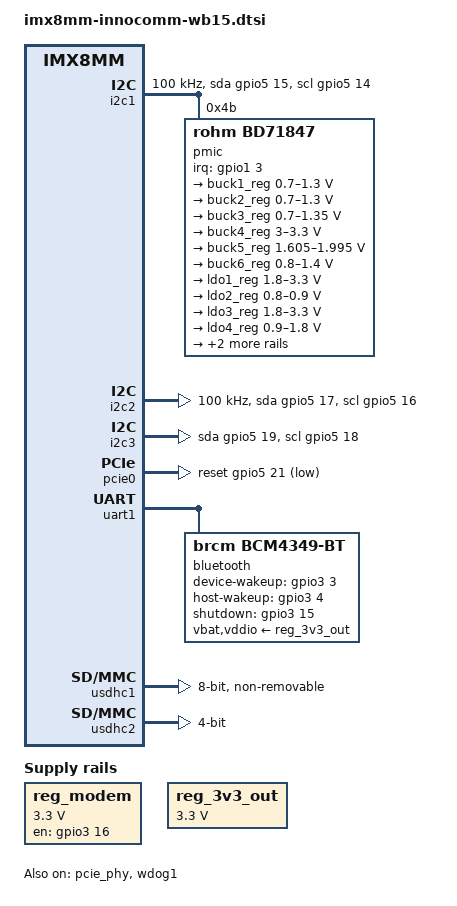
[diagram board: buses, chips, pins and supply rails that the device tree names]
// SPDX-License-Identifier: (GPL-2.0+ OR MIT)
/*
 * Copyright 2018 Bang & Olufsen
 */

#include "imx8mm.dtsi"
#include <dt-bindings/phy/phy-imx8-pcie.h>

/ {
	reg_modem: regulator-modem {
		compatible = "regulator-fixed";
		pinctrl-names = "default";
		pinctrl-0 = <&pinctrl_modem_regulator>;
		regulator-min-microvolt = <3300000>;
		regulator-max-microvolt = <3300000>;
		regulator-name = "epdev_on";
		gpio = <&gpio3 16 GPIO_ACTIVE_HIGH>;
		enable-active-high;
		regulator-always-on;
	};

	reg_3v3_out: regulator-3v3-out {
		compatible = "regulator-fixed";
		regulator-name = "3V3_OUT";
		regulator-min-microvolt = <3300000>;
		regulator-max-microvolt = <3300000>;
	};
};

&cpu_alert0 {
	temperature = <95000>;
};

&cpu_crit0 {
	temperature = <105000>;
};

&ddrc {
	operating-points-v2 = <&ddrc_opp_table>;

	ddrc_opp_table: opp-table {
		compatible = "operating-points-v2";

		opp-25000000 {
			opp-hz = /bits/ 64 <25000000>;
		};

		opp-100000000 {
			opp-hz = /bits/ 64 <100000000>;
		};

		opp-600000000 {
			opp-hz = /bits/ 64 <600000000>;
		};
	};
};

&i2c1 {
	clock-frequency = <100000>;
	pinctrl-names = "default", "gpio";
	pinctrl-0 = <&pinctrl_i2c1>;
	pinctrl-1 = <&pinctrl_i2c1_gpio>;
	scl-gpios = <&gpio5 14 (GPIO_ACTIVE_HIGH | GPIO_OPEN_DRAIN)>;
	sda-gpios = <&gpio5 15 (GPIO_ACTIVE_HIGH | GPIO_OPEN_DRAIN)>;
	status = "okay";

	pmic@4b {
		compatible = "rohm,bd71847";
		reg = <0x4b>;
		pinctrl-0 = <&pinctrl_pmic>;
		interrupt-parent = <&gpio1>;
		interrupts = <3 IRQ_TYPE_LEVEL_LOW>;
		rohm,reset-snvs-powered;

		regulators {
			buck1_reg: BUCK1 {
				regulator-name = "buck1";
				regulator-min-microvolt = <700000>;
				regulator-max-microvolt = <1300000>;
				regulator-boot-on;
				regulator-always-on;
				regulator-ramp-delay = <1250>;
				rohm,dvs-run-voltage = <850000>;
				rohm,dvs-idle-voltage = <850000>;
				rohm,dvs-suspend-voltage = <850000>;
			};

			buck2_reg: BUCK2 {
				regulator-name = "buck2";
				regulator-min-microvolt = <700000>;
				regulator-max-microvolt = <1300000>;
				regulator-boot-on;
				regulator-always-on;
				regulator-ramp-delay = <1250>;
				rohm,dvs-run-voltage = <1000000>;
				rohm,dvs-idle-voltage = <900000>;
			};

			buck3_reg: BUCK3 {
				// buck5 in datasheet
				regulator-name = "buck3";
				regulator-min-microvolt = <700000>;
				regulator-max-microvolt = <1350000>;
				regulator-boot-on;
				regulator-always-on;
			};

			buck4_reg: BUCK4 {
				// buck6 in datasheet
				regulator-name = "buck4";
				regulator-min-microvolt = <3000000>;
				regulator-max-microvolt = <3300000>;
				regulator-boot-on;
				regulator-always-on;
			};

			buck5_reg: BUCK5 {
				// buck7 in datasheet
				regulator-name = "buck5";
				regulator-min-microvolt = <1605000>;
				regulator-max-microvolt = <1995000>;
				regulator-boot-on;
				regulator-always-on;
			};

			buck6_reg: BUCK6 {
				// buck8 in datasheet
				regulator-name = "buck6";
				regulator-min-microvolt = <800000>;
				regulator-max-microvolt = <1400000>;
				regulator-boot-on;
				regulator-always-on;
			};

			ldo1_reg: LDO1 {
				regulator-name = "ldo1";
				regulator-min-microvolt = <1800000>;
				regulator-max-microvolt = <3300000>;
				regulator-boot-on;
				regulator-always-on;
			};

			ldo2_reg: LDO2 {
				regulator-name = "ldo2";
				regulator-min-microvolt = <800000>;
				regulator-max-microvolt = <900000>;
				regulator-boot-on;
				regulator-always-on;
			};

			ldo3_reg: LDO3 {
				regulator-name = "ldo3";
				regulator-min-microvolt = <1800000>;
				regulator-max-microvolt = <3300000>;
				regulator-boot-on;
				regulator-always-on;
			};

			ldo4_reg: LDO4 {
				regulator-name = "ldo4";
				regulator-min-microvolt = <900000>;
				regulator-max-microvolt = <1800000>;
				regulator-boot-on;
				regulator-always-on;
			};

			ldo5_reg: LDO5 {
				regulator-name = "ldo5";
				regulator-min-microvolt = <1800000>;
				regulator-max-microvolt = <3300000>;
			};

			ldo6_reg: LDO6 {
				regulator-name = "ldo6";
				regulator-min-microvolt = <900000>;
				regulator-max-microvolt = <1800000>;
				regulator-boot-on;
				regulator-always-on;
			};
		};
	};
};

&i2c2 {
	clock-frequency = <100000>;
	pinctrl-names = "default", "gpio";
	pinctrl-0 = <&pinctrl_i2c2>;
	pinctrl-1 = <&pinctrl_i2c2_gpio>;
	scl-gpios = <&gpio5 16 (GPIO_ACTIVE_HIGH | GPIO_OPEN_DRAIN)>;
	sda-gpios = <&gpio5 17 (GPIO_ACTIVE_HIGH | GPIO_OPEN_DRAIN)>;
	status = "okay";
};

&i2c3 {
	pinctrl-names = "default", "gpio";
	pinctrl-0 = <&pinctrl_i2c3>;
	pinctrl-1 = <&pinctrl_i2c3_gpio>;
	scl-gpios = <&gpio5 18 (GPIO_ACTIVE_HIGH | GPIO_OPEN_DRAIN)>;
	sda-gpios = <&gpio5 19 (GPIO_ACTIVE_HIGH | GPIO_OPEN_DRAIN)>;
};

&pcie_phy {
	fsl,refclk-pad-mode = <IMX8_PCIE_REFCLK_PAD_OUTPUT>;
	fsl,tx-deemph-gen1 = <0x2d>;
	fsl,tx-deemph-gen2 = <0xf>;
	status = "okay";
};

&pcie0 {
	pinctrl-names = "default";
	pinctrl-0 = <&pinctrl_pcie0>;
	reset-gpio = <&gpio5 21 GPIO_ACTIVE_LOW>;
	clocks = <&clk IMX8MM_CLK_PCIE1_ROOT>, <&clk IMX8MM_CLK_PCIE1_PHY>,
		 <&clk IMX8MM_CLK_PCIE1_AUX>;
	clock-names = "pcie", "pcie_bus", "pcie_aux";
	fsl,max-link-speed = <1>;
	assigned-clocks = <&clk IMX8MM_CLK_PCIE1_AUX>, <&clk IMX8MM_CLK_PCIE1_CTRL>;
	assigned-clock-rates = <10000000>, <250000000>;
	assigned-clock-parents = <&clk IMX8MM_SYS_PLL2_50M>, <&clk IMX8MM_SYS_PLL2_250M>;
	status = "okay";
};

&uart1 { /* BT */
	pinctrl-names = "default";
	pinctrl-0 = <&pinctrl_uart1>;
	assigned-clocks = <&clk IMX8MM_CLK_UART1>;
	assigned-clock-parents = <&clk IMX8MM_SYS_PLL1_80M>;
	uart-has-rtscts;
	status = "okay";

	bluetooth {
		compatible = "brcm,bcm4349-bt";
		pinctrl-names = "default";
		pinctrl-0 = <&pinctrl_modem_bt>;
		device-wakeup-gpios = <&gpio3 3 GPIO_ACTIVE_HIGH>;
		host-wakeup-gpios = <&gpio3 4 GPIO_ACTIVE_HIGH>;
		shutdown-gpios = <&gpio3 15 GPIO_ACTIVE_HIGH>;
		vbat-supply = <&reg_3v3_out>;
		vddio-supply = <&reg_3v3_out>;
		clocks = <&osc_32k>;
		max-speed = <3000000>;
		clock-names = "extclk";
	};
};

&uart2 { /* console */
	pinctrl-names = "default";
	pinctrl-0 = <&pinctrl_uart2>;
};

&usdhc1 {
	pinctrl-names = "default";
	pinctrl-0 = <&pinctrl_usdhc1>;
	bus-width = <8>;
	no-sd;
	no-sdio;
	non-removable;
	status = "okay";
};

&usdhc2 {
	pinctrl-names = "default", "state_100mhz", "state_200mhz";
	pinctrl-0 = <&pinctrl_usdhc2>, <&pinctrl_usdhc2_gpio>;
	pinctrl-1 = <&pinctrl_usdhc2_100mhz>, <&pinctrl_usdhc2_gpio>;
	pinctrl-2 = <&pinctrl_usdhc2_200mhz>, <&pinctrl_usdhc2_gpio>;
	bus-width = <4>;
};

&wdog1 {
	pinctrl-names = "default";
	pinctrl-0 = <&pinctrl_wdog>;
	fsl,ext-reset-output;
	status = "okay";
};

&A53_0 {
	cpu-supply = <&buck2_reg>;
};

&A53_1 {
	cpu-supply = <&buck2_reg>;
};

&A53_2 {
	cpu-supply = <&buck2_reg>;
};

&A53_3 {
	cpu-supply = <&buck2_reg>;
};

/delete-node/ &sec_jr1; /* Job ring in use by OP-TEE */

&iomuxc {
	pinctrl_i2c1: i2c1-grp {
		fsl,pins = <
			MX8MM_IOMUXC_I2C1_SCL_I2C1_SCL	0x400001c3
			MX8MM_IOMUXC_I2C1_SDA_I2C1_SDA	0x400001c3
		>;
	};

	pinctrl_i2c1_gpio: i2c1-gpio-grp {
		fsl,pins = <
			MX8MM_IOMUXC_I2C1_SCL_GPIO5_IO14	0x400001c3
			MX8MM_IOMUXC_I2C1_SDA_GPIO5_IO15	0x400001c3
		>;
	};

	pinctrl_i2c2: i2c2-grp {
		fsl,pins = <
			MX8MM_IOMUXC_I2C2_SCL_I2C2_SCL	0x400001c3
			MX8MM_IOMUXC_I2C2_SDA_I2C2_SDA	0x400001c3
		>;
	};

	pinctrl_i2c2_gpio: i2c2-gpio-grp {
		fsl,pins = <
			MX8MM_IOMUXC_I2C2_SCL_GPIO5_IO16	0x400001c3
			MX8MM_IOMUXC_I2C2_SDA_GPIO5_IO17	0x400001c3
		>;
	};

	pinctrl_i2c3: i2c3-grp {
		fsl,pins = <
			MX8MM_IOMUXC_I2C3_SCL_I2C3_SCL		0x400001c3
			MX8MM_IOMUXC_I2C3_SDA_I2C3_SDA		0x400001c3
		>;
	};

	pinctrl_i2c3_gpio: i2c3-gpio-grp {
		fsl,pins = <
			MX8MM_IOMUXC_I2C3_SCL_GPIO5_IO18	0x400001c3
			MX8MM_IOMUXC_I2C3_SDA_GPIO5_IO19	0x400001c3
		>;
	};

	pinctrl_pcie0: pcie0-grp {
		fsl,pins = <
			MX8MM_IOMUXC_I2C4_SCL_PCIE1_CLKREQ_B	0x61
			MX8MM_IOMUXC_I2C4_SDA_GPIO5_IO21	0x6
		>;
	};

	pinctrl_modem_bt: modem-bt-grp {
		fsl,pins = <
			MX8MM_IOMUXC_NAND_CLE_GPIO3_IO5			0x19
			MX8MM_IOMUXC_NAND_CE2_B_GPIO3_IO3		0x19
			MX8MM_IOMUXC_NAND_CE3_B_GPIO3_IO4		0x19
			MX8MM_IOMUXC_NAND_RE_B_GPIO3_IO15		0x19
			MX8MM_IOMUXC_GPIO1_IO00_ANAMIX_REF_CLK_32K	0x141
		>;
	};

	pinctrl_modem_regulator: modem-reg-grp {
		fsl,pins = <
			MX8MM_IOMUXC_NAND_READY_B_GPIO3_IO16    0x41
		>;
	};

	pinctrl_pmic: pmic-irq-grp {
		fsl,pins = <
			MX8MM_IOMUXC_GPIO1_IO03_GPIO1_IO3	0x41
		>;
	};

	pinctrl_uart1: uart1-grp {
		fsl,pins = <
			MX8MM_IOMUXC_UART1_RXD_UART1_DCE_RX	0x140
			MX8MM_IOMUXC_UART1_TXD_UART1_DCE_TX	0x140
			MX8MM_IOMUXC_UART3_RXD_UART1_DCE_CTS_B	0x140
			MX8MM_IOMUXC_UART3_TXD_UART1_DCE_RTS_B	0x140
		>;
	};

	pinctrl_uart2: uart2-grp {
		fsl,pins = <
			MX8MM_IOMUXC_UART2_RXD_UART2_DCE_RX	0x140
			MX8MM_IOMUXC_UART2_TXD_UART2_DCE_TX	0x140
		>;
	};

	pinctrl_usdhc1: usdhc1-grp {
		fsl,pins = <
			MX8MM_IOMUXC_SD1_CLK_USDHC1_CLK		0x40000190
			MX8MM_IOMUXC_SD1_CMD_USDHC1_CMD		0x1d0
			MX8MM_IOMUXC_SD1_DATA0_USDHC1_DATA0	0x1d0
			MX8MM_IOMUXC_SD1_DATA1_USDHC1_DATA1	0x1d0
			MX8MM_IOMUXC_SD1_DATA2_USDHC1_DATA2	0x1d0
			MX8MM_IOMUXC_SD1_DATA3_USDHC1_DATA3	0x1d0
			MX8MM_IOMUXC_SD1_DATA4_USDHC1_DATA4	0x1d0
			MX8MM_IOMUXC_SD1_DATA5_USDHC1_DATA5	0x1d0
			MX8MM_IOMUXC_SD1_DATA6_USDHC1_DATA6	0x1d0
			MX8MM_IOMUXC_SD1_DATA7_USDHC1_DATA7	0x1d0
			MX8MM_IOMUXC_SD1_STROBE_USDHC1_STROBE	0x190
			MX8MM_IOMUXC_SD1_RESET_B_USDHC1_RESET_B	0x1d0
		>;
	};

	pinctrl_usdhc1_100mhz: usdhc1-100mhz-grp {
		fsl,pins = <
			MX8MM_IOMUXC_SD1_CLK_USDHC1_CLK		0x40000194
			MX8MM_IOMUXC_SD1_CMD_USDHC1_CMD		0x1d4
			MX8MM_IOMUXC_SD1_DATA0_USDHC1_DATA0	0x1d4
			MX8MM_IOMUXC_SD1_DATA1_USDHC1_DATA1	0x1d4
			MX8MM_IOMUXC_SD1_DATA2_USDHC1_DATA2	0x1d4
			MX8MM_IOMUXC_SD1_DATA3_USDHC1_DATA3	0x1d4
			MX8MM_IOMUXC_SD1_DATA4_USDHC1_DATA4	0x1d4
			MX8MM_IOMUXC_SD1_DATA5_USDHC1_DATA5	0x1d4
			MX8MM_IOMUXC_SD1_DATA6_USDHC1_DATA6	0x1d4
			MX8MM_IOMUXC_SD1_DATA7_USDHC1_DATA7	0x1d4
			MX8MM_IOMUXC_SD1_STROBE_USDHC1_STROBE	0x194
			MX8MM_IOMUXC_SD1_RESET_B_USDHC1_RESET_B	0x1d4
		>;
	};

	pinctrl_usdhc1_200mhz: usdhc1-200mhz-grp {
		fsl,pins = <
			MX8MM_IOMUXC_SD1_CLK_USDHC1_CLK		0x40000196
			MX8MM_IOMUXC_SD1_CMD_USDHC1_CMD		0x1d6
			MX8MM_IOMUXC_SD1_DATA0_USDHC1_DATA0	0x1d6
			MX8MM_IOMUXC_SD1_DATA1_USDHC1_DATA1	0x1d6
			MX8MM_IOMUXC_SD1_DATA2_USDHC1_DATA2	0x1d6
			MX8MM_IOMUXC_SD1_DATA3_USDHC1_DATA3	0x1d6
			MX8MM_IOMUXC_SD1_DATA4_USDHC1_DATA4	0x1d6
			MX8MM_IOMUXC_SD1_DATA5_USDHC1_DATA5	0x1d6
			MX8MM_IOMUXC_SD1_DATA6_USDHC1_DATA6	0x1d6
			MX8MM_IOMUXC_SD1_DATA7_USDHC1_DATA7	0x1d6
			MX8MM_IOMUXC_SD1_STROBE_USDHC1_STROBE	0x196
			MX8MM_IOMUXC_SD1_RESET_B_USDHC1_RESET_B	0x1d6
		>;
	};

	pinctrl_usdhc2_gpio: usdhc2-gpio-grp {
		fsl,pins = <
			MX8MM_IOMUXC_SD2_RESET_B_GPIO2_IO19	0x1d0
		>;
	};

	pinctrl_usdhc2: usdhc2-grp {
		fsl,pins = <
			MX8MM_IOMUXC_SD2_CLK_USDHC2_CLK		0x190
			MX8MM_IOMUXC_SD2_CMD_USDHC2_CMD		0x1d0
			MX8MM_IOMUXC_SD2_DATA0_USDHC2_DATA0	0x1d0
			MX8MM_IOMUXC_SD2_DATA1_USDHC2_DATA1	0x1d0
			MX8MM_IOMUXC_SD2_DATA2_USDHC2_DATA2	0x1d0
			MX8MM_IOMUXC_SD2_DATA3_USDHC2_DATA3	0x1d0
			MX8MM_IOMUXC_GPIO1_IO04_USDHC2_VSELECT	0x1d0
		>;
	};

	pinctrl_usdhc2_100mhz: usdhc2-100mhz-grp {
		fsl,pins = <
			MX8MM_IOMUXC_SD2_CLK_USDHC2_CLK		0x194
			MX8MM_IOMUXC_SD2_CMD_USDHC2_CMD		0x1d4
			MX8MM_IOMUXC_SD2_DATA0_USDHC2_DATA0	0x1d4
			MX8MM_IOMUXC_SD2_DATA1_USDHC2_DATA1	0x1d4
			MX8MM_IOMUXC_SD2_DATA2_USDHC2_DATA2	0x1d4
			MX8MM_IOMUXC_SD2_DATA3_USDHC2_DATA3	0x1d4
			MX8MM_IOMUXC_GPIO1_IO04_USDHC2_VSELECT	0x1d0
		>;
	};

	pinctrl_usdhc2_200mhz: usdhc2-200mhz-grp {
		fsl,pins = <
			MX8MM_IOMUXC_SD2_CLK_USDHC2_CLK		0x196
			MX8MM_IOMUXC_SD2_CMD_USDHC2_CMD		0x1d6
			MX8MM_IOMUXC_SD2_DATA0_USDHC2_DATA0	0x1d6
			MX8MM_IOMUXC_SD2_DATA1_USDHC2_DATA1	0x1d6
			MX8MM_IOMUXC_SD2_DATA2_USDHC2_DATA2	0x1d6
			MX8MM_IOMUXC_SD2_DATA3_USDHC2_DATA3	0x1d6
			MX8MM_IOMUXC_GPIO1_IO04_USDHC2_VSELECT	0x1d0
		>;
	};

	pinctrl_wdog: wdog-grp {
		fsl,pins = <
			MX8MM_IOMUXC_GPIO1_IO02_WDOG1_WDOG_B	0xc6
		>;
	};
};
